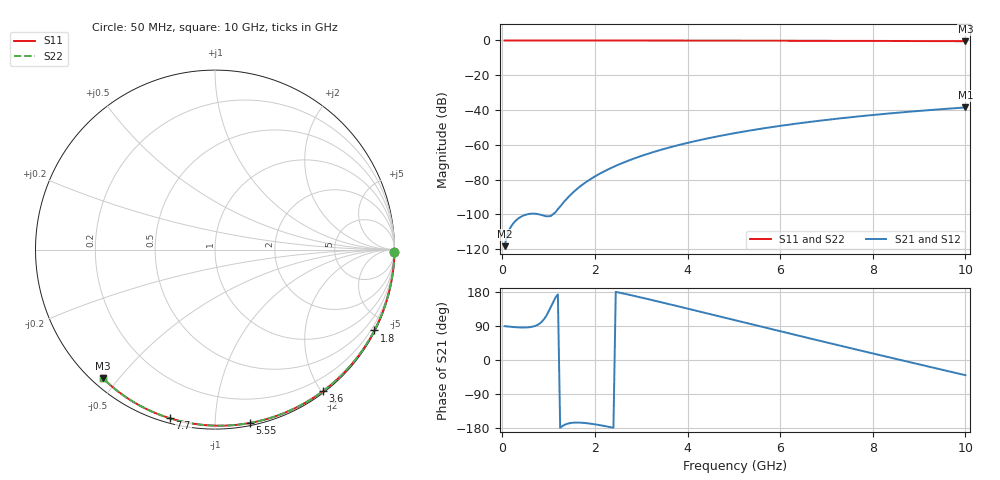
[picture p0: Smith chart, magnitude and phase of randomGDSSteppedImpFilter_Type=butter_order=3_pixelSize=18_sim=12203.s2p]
! freq	dB(S11)	phase(S11)	dB(S12)	phase(S12)
!  dB(S21)	phase(S21)	dB(S22)	phase(S22)
!S-par simulation data
#  GHz  S  DB  R 50
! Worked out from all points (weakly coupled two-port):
!   200 points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, 50 MHz to 10 GHz, reference 50 ohm
!   highest |S21| = -38.51 dB at 10 GHz (marker M1); lowest = -118.2 dB at 50 MHz (marker M2)
!   lowest |S11| = -0.4 dB at 10 GHz (marker M3), VSWR 39.16, Z = 1.54 - j22.6 ohm
!   |S11| at or under -10 dB: nowhere
!   |S22| runs from -0.4 to 0.0 dB; largest |S21 - S12| = 0
!   S11 on the Smith chart (normalised r, x): 50 MHz: open; 1.8 GHz: 0.04, -4.18; 3.6 GHz: 0.02, -2.02; 5.55 GHz: 0.02, -1.22; 7.7 GHz: 0.02, -0.77; 10 GHz: 0.03, -0.45
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0.05  -0.00 -0.8  -118.24 89.3  -118.24 89.3  -0.00 -0.8
0.45  -0.01 -6.8  -100.72 85.7  -100.72 85.7  -0.01 -6.8
0.9  -0.02 -13.6  -100.76 107.8  -100.76 107.8  -0.02 -13.6
1.75  -0.03 -26.2  -82.50 -165.9  -82.50 -165.9  -0.03 -26.2
1.8  -0.03 -26.9  -81.55 -166.4  -81.55 -166.4  -0.03 -26.9
1.9  -0.04 -28.4  -79.79 -167.9  -79.79 -167.9  -0.04 -28.4
2.05  -0.04 -30.6  -77.38 -170.7  -77.38 -170.7  -0.04 -30.6
2.25  -0.04 -33.5  -74.56 -175.2  -74.56 -175.2  -0.04 -33.5
2.45  -0.05 -36.3  -72.06 179.8  -72.06 179.8  -0.05 -36.3
2.65  -0.05 -39.2  -69.83 174.6  -69.83 174.6  -0.05 -39.2
3  -0.06 -44.2  -66.41 164.9  -66.41 164.9  -0.06 -44.2
3.4  -0.07 -49.8  -63.06 153.3  -63.06 153.3  -0.07 -49.8
3.6  -0.07 -52.6  -61.57 147.5  -61.57 147.5  -0.07 -52.6
4.3  -0.09 -62.2  -57.05 126.7  -57.05 126.7  -0.09 -62.2
5.05  -0.11 -72.1  -53.12 104.3  -53.12 104.3  -0.11 -72.1
5.55  -0.13 -78.6  -50.89 89.4  -50.89 89.4  -0.13 -78.6
6.1  -0.15 -85.5  -48.71 73.0  -48.71 73.0  -0.15 -85.5
6.7  -0.18 -92.9  -46.62 55.3  -46.62 55.3  -0.18 -92.9
7.7  -0.24 -104.9  -43.63 26.0  -43.63 26.0  -0.24 -104.9
8.35  -0.29 -112.5  -41.97 7.2  -41.97 7.2  -0.29 -112.5
9.15  -0.36 -121.6  -40.17 -15.8  -40.17 -15.8  -0.36 -121.6
10  -0.44 -131.2  -38.51 -40.1  -38.51 -40.1  -0.44 -131.2
